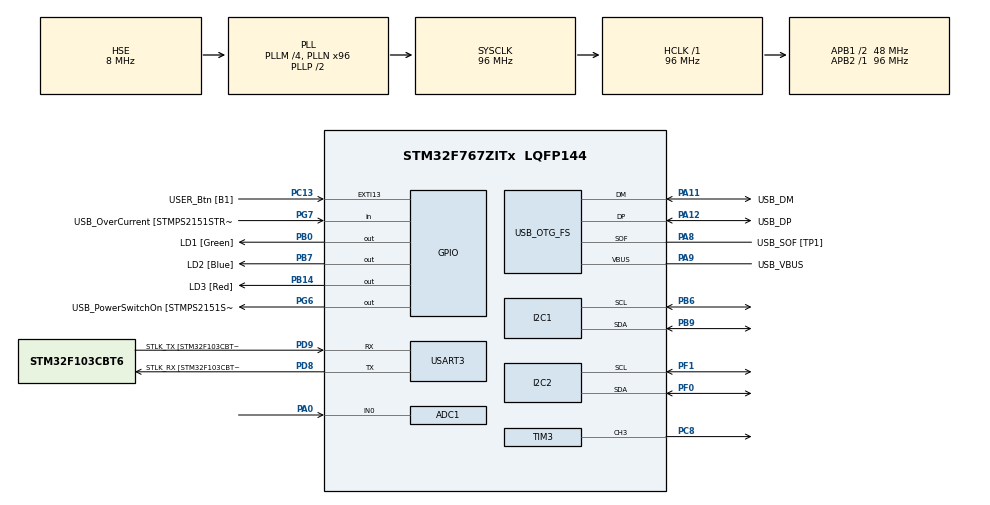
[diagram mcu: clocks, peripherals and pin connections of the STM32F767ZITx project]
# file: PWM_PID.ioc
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ADC1.Channel-0\#ChannelRegularConversion=ADC_CHANNEL_0
ADC1.ContinuousConvMode=ENABLE
ADC1.NbrOfConversionFlag=1
ADC1.Rank-0\#ChannelRegularConversion=1
ADC1.SamplingTime-0\#ChannelRegularConversion=ADC_SAMPLETIME_3CYCLES
ADC1.master=1
I2C1.Timing=0x20303E5D
I2C2.Timing=0x20303E5D
Mcu.Family=STM32F7
Mcu.Name=STM32F767ZITx
Mcu.Package=LQFP144
NVIC.PriorityGroup=NVIC_PRIORITYGROUP_4
NVIC.TIM3_IRQn=true\:0\:0\:false\:false\:true\:true\:true\:true
NVIC.TIM7_IRQn=true\:0\:0\:false\:false\:true\:true\:true\:true
NVIC.USART3_IRQn=true\:0\:0\:false\:false\:true\:true\:true\:true
PA0/WKUP.Signal=ADCx_IN0
PA1.GPIO_Label=RMII_REF_CLK [LAN8742A-CZ-TR_REFCLK0]
PA1.Signal=ETH_REF_CLK
PA10.GPIO_Label=USB_ID
PA10.Signal=USB_OTG_FS_ID
PA11.GPIO_Label=USB_DM
PA11.Mode=Device_Only
PA11.Signal=USB_OTG_FS_DM
PA12.GPIO_Label=USB_DP
PA12.Mode=Device_Only
PA12.Signal=USB_OTG_FS_DP
PA13.GPIO_Label=TMS
PA13.Mode=Serial_Wire
PA13.Signal=SYS_JTMS-SWDIO
PA14.GPIO_Label=TCK
PA14.Mode=Serial_Wire
PA14.Signal=SYS_JTCK-SWCLK
PA2.GPIO_Label=RMII_MDIO [LAN8742A-CZ-TR_MDIO]
PA2.Signal=ETH_MDIO
PA7.GPIO_Label=RMII_CRS_DV [LAN8742A-CZ-TR_CRS_DV]
PA7.Signal=ETH_CRS_DV
PA8.GPIO_Label=USB_SOF [TP1]
PA8.Mode=Activate_SOF_FS
PA8.Signal=USB_OTG_FS_SOF
PA9.GPIO_Label=USB_VBUS
PA9.Mode=Activate_VBUS
PA9.Signal=USB_OTG_FS_VBUS
PB0.GPIO_Label=LD1 [Green]
PB0.Signal=GPIO_Output
PB13.GPIO_Label=RMII_TXD1 [LAN8742A-CZ-TR_TXD1]
PB13.Signal=ETH_TXD1
PB14.GPIO_Label=LD3 [Red]
PB14.Signal=GPIO_Output
PB3.GPIO_Label=SWO
PB3.Signal=SYS_JTDO-SWO
PB6.Mode=I2C
PB6.Signal=I2C1_SCL
PB7.GPIO_Label=LD2 [Blue]
PB7.Signal=GPIO_Output
PB9.Mode=I2C
PB9.Signal=I2C1_SDA
PC1.GPIO_Label=RMII_MDC [LAN8742A-CZ-TR_MDC]
PC1.Signal=ETH_MDC
PC13.GPIO_Label=USER_Btn [B1]
PC13.Signal=GPXTI13
PC14/OSC32_IN.Mode=LSE-External-Oscillator
PC14/OSC32_IN.Signal=RCC_OSC32_IN
PC15/OSC32_OUT.Mode=LSE-External-Oscillator
PC15/OSC32_OUT.Signal=RCC_OSC32_OUT
PC4.GPIO_Label=RMII_RXD0 [LAN8742A-CZ-TR_RXD0]
PC4.Signal=ETH_RXD0
PC5.GPIO_Label=RMII_RXD1 [LAN8742A-CZ-TR_RXD1]
PC5.Signal=ETH_RXD1
PC8.Signal=S_TIM3_CH3
PD8.GPIO_Label=STLK_RX [STM32F103CBT6_PA3]
PD8.Mode=Asynchronous
PD8.Signal=USART3_TX
PD9.GPIO_Label=STLK_TX [STM32F103CBT6_PA2]
PD9.Mode=Asynchronous
PD9.Signal=USART3_RX
PF0.Mode=I2C
PF0.Signal=I2C2_SDA
PF1.Mode=I2C
PF1.Signal=I2C2_SCL
PG11.GPIO_Label=RMII_TX_EN [LAN8742A-CZ-TR_TXEN]
PG11.Signal=ETH_TX_EN
PG13.GPIO_Label=RMII_TXD0 [LAN8742A-CZ-TR_TXD0]
PG13.Signal=ETH_TXD0
PG6.GPIO_Label=USB_PowerSwitchOn [STMPS2151STR_EN]
PG6.Signal=GPIO_Output
PG7.GPIO_Label=USB_OverCurrent [STMPS2151STR_FAULT]
PG7.Signal=GPIO_Input
PH0/OSC_IN.GPIO_Label=MCO [STM32F103CBT6_PA8]
PH0/OSC_IN.Mode=HSE-External-Clock-Source
PH0/OSC_IN.Signal=RCC_OSC_IN
PH1/OSC_OUT.Mode=HSE-External-Clock-Source
PH1/OSC_OUT.Signal=RCC_OSC_OUT
ProjectManager.HeapSize=0x200
ProjectManager.StackSize=0x400
ProjectManager.TargetToolchain=STM32CubeIDE
RCC.48MHZClocksFreq_Value=24000000
RCC.AHBFreq_Value=96000000
RCC.APB1CLKDivider=RCC_HCLK_DIV2
RCC.APB1Freq_Value=48000000
RCC.APB1TimFreq_Value=96000000
RCC.APB2Freq_Value=96000000
RCC.APB2TimFreq_Value=96000000
RCC.CortexFreq_Value=96000000
RCC.HCLKFreq_Value=96000000
RCC.HSE_VALUE=8000000
RCC.HSI_VALUE=16000000
RCC.PLLM=4
RCC.PLLMUL=RCC_PLL_MUL9
RCC.PLLN=96
RCC.PLLQ=4
RCC.PRESCALERUSB=RCC_USBCLKSOURCE_PLL_DIV1_5
RCC.SYSCLKFreq_VALUE=96000000
RCC.SYSCLKSource=RCC_SYSCLKSOURCE_PLLCLK
RCC.SYSCLKSourceVirtual=RCC_SYSCLKSOURCE_PLLCLK
RCC.USBFreq_Value=48000000
RCC.VCOOutputFreq_Value=192000000
SH.ADCx_IN0.0=ADC1_IN0,IN0
SH.S_TIM3_CH3.0=TIM3_CH3,PWM Generation3 CH3
TIM3.Channel-PWM\ Generation3\ CH3=TIM_CHANNEL_3
TIM3.Period=999
TIM3.Prescaler=95
TIM7.Period=3999
TIM7.Prescaler=23999
USART3.VirtualMode-Asynchronous=VM_ASYNC
USB_OTG_FS.VirtualMode=Device_Only
VP_TIM3_VS_ClockSourceINT.Mode=Internal
VP_TIM7_VS_ClockSourceINT.Mode=Enable_Timer
board=NUCLEO-F767ZI

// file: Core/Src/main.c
/* USER CODE BEGIN Header */
/**
  ******************************************************************************
  * @file           : main.c
  * @brief          : Main program body
  ******************************************************************************
  * @attention
  *
  * Copyright (c) 2024 STMicroelectronics.
  * All rights reserved.
  *
  * This software is licensed under terms that can be found in the LICENSE file
  * in the root directory of this software component.
  * If no LICENSE file comes with this software, it is provided AS-IS.
  *
  ******************************************************************************
  */
/* USER CODE END Header */
#include "main.h"
#include "Other_Functions.h"
#include "Display_Animations.h"
#include "BMPXX80.h"
#include "ssd1306.h"
#include "string.h"
#include "stdio.h"
#include <stdbool.h>

/* USER CODE BEGIN PM */
#define COUNTOF(__BUFFER__)	(sizeof(__BUFFER__) / sizeof(*(__BUFFER__)))
/* USER CODE END PM */

ADC_HandleTypeDef hadc1;

I2C_HandleTypeDef hi2c1;
I2C_HandleTypeDef hi2c2;

TIM_HandleTypeDef htim3;
TIM_HandleTypeDef htim7;

UART_HandleTypeDef huart3;

PCD_HandleTypeDef hpcd_USB_OTG_FS;

/* USER CODE BEGIN PV */
float temperature;
int32_t pressure;
uint16_t readValue;
int tabela_temp[118];
float kp = 0;
float ki = 0;
float kd = 0;
float yzad = 0;
int yINTzad = 0;
float tp = 1;
float I = 0;
float D = 0;
float P = 0;
float poprzednia_probka = 0;
float uchyb = 0;
float Temperatura = 0;
float TemperaturaZadana = 40;
char buffer1[200];
int dlugosc;
float TempZad;
char msg[128];
volatile uint16_t i = 0;
volatile uint8_t dataReceivedFlag = 0;
char* controlX = &msg[5];
bool Auto = false;
/* USER CODE END PV */

void SystemClock_Config(void);
static void MX_GPIO_Init(void);
static void MX_USART3_UART_Init(void);
static void MX_USB_OTG_FS_PCD_Init(void);
static void MX_ADC1_Init(void);
static void MX_I2C1_Init(void);
static void MX_I2C2_Init(void);
static void MX_TIM3_Init(void);
static void MX_TIM7_Init(void);

/* USER CODE BEGIN 0 */
void transmitData(float send){
    uint8_t size =
            sprintf(buffer1,
                    "{\"Temperatura\": %.2f, \"TemperaturaZadana\": %.2f}\n",
                     Temperatura, TemperaturaZadana);
    HAL_UART_Transmit(&huart3, (uint8_t*) buffer1, size, 100);
}

void HAL_UART_RxCpltCallback(UART_HandleTypeDef *huart)
{
    if (huart->Instance == USART3)  // Sprawdź, czy przerwanie pochodzi z USART3
    {

		HAL_GPIO_TogglePin(GPIOB,GPIO_PIN_0);
        if (msg[i] == '\n')  // Sprawdź, czy odebrano znak końca linii
        {
            dataReceivedFlag = 1;  // Ustaw flagę o odebraniu pełnej wiadomości
            msg[i] = '\0';  // Zamień znak końca linii na znak końca łańcucha
            i = 0;  // Resetuj indeks bufora
            sscanf(msg,"%f",&TempZad);
            if (TempZad == 0){
            	*controlX = &msg[5];
            	for (int v = 5; v < 128; v++){
            		msg[v] = '\0';
            	}
            	sscanf(msg,"%f",&TempZad);
            	if (TempZad == 0){
            		*controlX = &msg[4];
            		msg[4] = '\0';
            	}
            	sscanf(msg,"%f",&TempZad);
            }
            if (*controlX == 'A'){
            	Auto = true;
            }else{
            	Auto = false;
            }

        }
        else
        {
            if (++i >= 128)  // Inkrementuj indeks i sprawdź przepełnienie
            {
                i = 0;  // Resetuj indeks bufora
            }
        }
        HAL_UART_Receive_IT(&huart3, (uint8_t*)&msg[i], 1);  // Ponownie włącz przerwanie
    }
}
/* USER CODE END 0 */

int main(void)
{

  /* MCU Configuration--------------------------------------------------------*/

  /* Reset of all peripherals, Initializes the Flash interface and the Systick. */
  HAL_Init();

  /* Configure the system clock */
  SystemClock_Config();

  /* Initialize all configured peripherals */
  MX_GPIO_Init();
  MX_USART3_UART_Init();
  MX_USB_OTG_FS_PCD_Init();
  MX_ADC1_Init();
  MX_I2C1_Init();
  MX_I2C2_Init();
  MX_TIM3_Init();
  MX_TIM7_Init();
  /* USER CODE BEGIN 2 */
      BMP280_Init(&hi2c1, BMP280_TEMPERATURE_16BIT, BMP280_STANDARD, BMP280_FORCEDMODE);
      HAL_Delay(500);
      ssd1306_Init();
      HAL_Delay(200);
      HAL_TIM_PWM_Start(&htim3,TIM_CHANNEL_3);

      HAL_TIM_Base_Start_IT(&htim7);
      /* USER CODE END 2 */

      /* Infinite loop */
      /* USER CODE BEGIN WHILE */
      int z = 0;

      int Choose_PID = 2;
      if (Choose_PID == 1){
    	  //nastawy PID Normal V
    	  kp = 8.5292;
    	  ki = 0.0046146;
    	  kd = 1774.5473;
      }else{
    	  //nastawy PID Low V
    	  kp = 18.1264;
    	  ki = 0.041887;
    	  kd = 0;
      }

        //int rys = 20;
      for (int i = 0; i < 118; i++){
        tabela_temp[i] = convertTempPx(30);
      }

      HAL_UART_Receive_IT(&huart3, (uint8_t*)&msg[i], 1);
      while (1)
            	  {
                /* USER CODE END WHILE */
            	  BMP280_ReadTemperatureAndPressure(&temperature, &pressure);
            	  HAL_Delay(250);
            	  HAL_ADC_Start(&hadc1);
           	      HAL_ADC_PollForConversion(&hadc1,1000);
           	      readValue = HAL_ADC_GetValue(&hadc1);
         	      HAL_ADC_Stop(&hadc1);
            	  /*
            	  if (rys == 40){
            		  rys = 20;
            	  }
            	  rys++;
            	  */
            	  Temperatura = temperature; // = rys;
            	  if (Auto == true){
            		TemperaturaZadana = TempZad;
            	  }else{
            		TemperaturaZadana = readValue;
            		TemperaturaZadana = trunc(2. * (round(TemperaturaZadana / 20)/10 + 20) + .5) / 2.;
            	  }
            	   if (z == 2){
            		  for (int i = 0; i < (117); i++){
            		  	  tabela_temp[i] = tabela_temp[i+1];
            		    }
            		  tabela_temp[117] = convertTempPx(Temperatura);
            		  z = 0;
            	  }else{
            		  z++;
            	  }
            	  if (HAL_GPIO_ReadPin(GPIOB, GPIO_PIN_2) == GPIO_PIN_SET) {
            	  	Graf();
            	  	rysuj_wykres(tabela_temp);
            	  	DottedLine(convertTempPx(TemperaturaZadana));
            	  } else {
            	  	TempZadScreen(Temperatura, TemperaturaZadana);
            	  }
            	  ssd1306_UpdateScreen();
            	  HAL_Delay(250);

              }
    }

    void HAL_TIM_PeriodElapsedCallback(TIM_HandleTypeDef *htim)
    {
    	if (htim->Instance ==TIM7){

    		BMP280_ReadTemperatureAndPressure(&temperature, &pressure);
    		transmitData(Temperatura);
    	//PID
    	  	  poprzednia_probka = uchyb;
            	  uchyb = TemperaturaZadana - Temperatura;
            	  I = I + uchyb * ki * tp;
            	  D = (kd * (uchyb - poprzednia_probka)/tp);
            	  P = uchyb * kp;
            	  yzad = P + I + D;
            	  if(yzad > 99){
            		  yzad = 100;
            	  }else if(yzad < 0){
            		  yzad = 0;
            	  }
            	  yINTzad = (int)(yzad * 10);
            	  __HAL_TIM_SET_COMPARE(&htim3,TIM_CHANNEL_3,yINTzad);
    	}
    }

void SystemClock_Config(void)
{
  RCC_OscInitTypeDef RCC_OscInitStruct = {0};
  RCC_ClkInitTypeDef RCC_ClkInitStruct = {0};

  /** Configure LSE Drive Capability
  */
  HAL_PWR_EnableBkUpAccess();

  /** Configure the main internal regulator output voltage
  */
  __HAL_RCC_PWR_CLK_ENABLE();
  __HAL_PWR_VOLTAGESCALING_CONFIG(PWR_REGULATOR_VOLTAGE_SCALE3);

  /** Initializes the RCC Oscillators according to the specified parameters
  * in the RCC_OscInitTypeDef structure.
  */
  RCC_OscInitStruct.OscillatorType = RCC_OSCILLATORTYPE_HSE;
  RCC_OscInitStruct.HSEState = RCC_HSE_BYPASS;
  RCC_OscInitStruct.PLL.PLLState = RCC_PLL_ON;
  RCC_OscInitStruct.PLL.PLLSource = RCC_PLLSOURCE_HSE;
  RCC_OscInitStruct.PLL.PLLM = 4;
  RCC_OscInitStruct.PLL.PLLN = 96;
  RCC_OscInitStruct.PLL.PLLP = RCC_PLLP_DIV2;
  RCC_OscInitStruct.PLL.PLLQ = 4;
  RCC_OscInitStruct.PLL.PLLR = 2;
  if (HAL_RCC_OscConfig(&RCC_OscInitStruct) != HAL_OK)
  {
    Error_Handler();
  }

  /** Activate the Over-Drive mode
  */
  if (HAL_PWREx_EnableOverDrive() != HAL_OK)
  {
    Error_Handler();
  }

  /** Initializes the CPU, AHB and APB buses clocks
  */
  RCC_ClkInitStruct.ClockType = RCC_CLOCKTYPE_HCLK|RCC_CLOCKTYPE_SYSCLK
                              |RCC_CLOCKTYPE_PCLK1|RCC_CLOCKTYPE_PCLK2;
  RCC_ClkInitStruct.SYSCLKSource = RCC_SYSCLKSOURCE_PLLCLK;
  RCC_ClkInitStruct.AHBCLKDivider = RCC_SYSCLK_DIV1;
  RCC_ClkInitStruct.APB1CLKDivider = RCC_HCLK_DIV2;
  RCC_ClkInitStruct.APB2CLKDivider = RCC_HCLK_DIV1;

  if (HAL_RCC_ClockConfig(&RCC_ClkInitStruct, FLASH_LATENCY_3) != HAL_OK)
  {
    Error_Handler();
  }
}

static void MX_ADC1_Init(void)
{

  ADC_ChannelConfTypeDef sConfig = {0};

  /** Configure the global features of the ADC (Clock, Resolution, Data Alignment and number of conversion)
  */
  hadc1.Instance = ADC1;
  hadc1.Init.ClockPrescaler = ADC_CLOCK_SYNC_PCLK_DIV4;
  hadc1.Init.Resolution = ADC_RESOLUTION_12B;
  hadc1.Init.ScanConvMode = ADC_SCAN_DISABLE;
  hadc1.Init.ContinuousConvMode = ENABLE;
  hadc1.Init.DiscontinuousConvMode = DISABLE;
  hadc1.Init.ExternalTrigConvEdge = ADC_EXTERNALTRIGCONVEDGE_NONE;
  hadc1.Init.ExternalTrigConv = ADC_SOFTWARE_START;
  hadc1.Init.DataAlign = ADC_DATAALIGN_RIGHT;
  hadc1.Init.NbrOfConversion = 1;
  hadc1.Init.DMAContinuousRequests = DISABLE;
  hadc1.Init.EOCSelection = ADC_EOC_SINGLE_CONV;
  if (HAL_ADC_Init(&hadc1) != HAL_OK)
  {
    Error_Handler();
  }

  /** Configure for the selected ADC regular channel its corresponding rank in the sequencer and its sample time.
  */
  sConfig.Channel = ADC_CHANNEL_0;
  sConfig.Rank = ADC_REGULAR_RANK_1;
  sConfig.SamplingTime = ADC_SAMPLETIME_3CYCLES;
  if (HAL_ADC_ConfigChannel(&hadc1, &sConfig) != HAL_OK)
  {
    Error_Handler();
  }

}

static void MX_I2C1_Init(void)
{

  hi2c1.Instance = I2C1;
  hi2c1.Init.Timing = 0x20303E5D;
  hi2c1.Init.OwnAddress1 = 0;
  hi2c1.Init.AddressingMode = I2C_ADDRESSINGMODE_7BIT;
  hi2c1.Init.DualAddressMode = I2C_DUALADDRESS_DISABLE;
  hi2c1.Init.OwnAddress2 = 0;
  hi2c1.Init.OwnAddress2Masks = I2C_OA2_NOMASK;
  hi2c1.Init.GeneralCallMode = I2C_GENERALCALL_DISABLE;
  hi2c1.Init.NoStretchMode = I2C_NOSTRETCH_DISABLE;
  if (HAL_I2C_Init(&hi2c1) != HAL_OK)
  {
    Error_Handler();
  }

  /** Configure Analogue filter
  */
  if (HAL_I2CEx_ConfigAnalogFilter(&hi2c1, I2C_ANALOGFILTER_ENABLE) != HAL_OK)
  {
    Error_Handler();
  }

  /** Configure Digital filter
  */
  if (HAL_I2CEx_ConfigDigitalFilter(&hi2c1, 0) != HAL_OK)
  {
    Error_Handler();
  }

}

static void MX_I2C2_Init(void)
{

  hi2c2.Instance = I2C2;
  hi2c2.Init.Timing = 0x20303E5D;
  hi2c2.Init.OwnAddress1 = 0;
  hi2c2.Init.AddressingMode = I2C_ADDRESSINGMODE_7BIT;
  hi2c2.Init.DualAddressMode = I2C_DUALADDRESS_DISABLE;
  hi2c2.Init.OwnAddress2 = 0;
  hi2c2.Init.OwnAddress2Masks = I2C_OA2_NOMASK;
  hi2c2.Init.GeneralCallMode = I2C_GENERALCALL_DISABLE;
  hi2c2.Init.NoStretchMode = I2C_NOSTRETCH_DISABLE;
  if (HAL_I2C_Init(&hi2c2) != HAL_OK)
  {
    Error_Handler();
  }

  /** Configure Analogue filter
  */
  if (HAL_I2CEx_ConfigAnalogFilter(&hi2c2, I2C_ANALOGFILTER_ENABLE) != HAL_OK)
  {
    Error_Handler();
  }

  /** Configure Digital filter
  */
  if (HAL_I2CEx_ConfigDigitalFilter(&hi2c2, 0) != HAL_OK)
  {
    Error_Handler();
  }

}

static void MX_TIM3_Init(void)
{

  TIM_ClockConfigTypeDef sClockSourceConfig = {0};
  TIM_MasterConfigTypeDef sMasterConfig = {0};
  TIM_OC_InitTypeDef sConfigOC = {0};

  htim3.Instance = TIM3;
  htim3.Init.Prescaler = 95;
  htim3.Init.CounterMode = TIM_COUNTERMODE_UP;
  htim3.Init.Period = 999;
  htim3.Init.ClockDivision = TIM_CLOCKDIVISION_DIV1;
  htim3.Init.AutoReloadPreload = TIM_AUTORELOAD_PRELOAD_DISABLE;
  if (HAL_TIM_Base_Init(&htim3) != HAL_OK)
  {
    Error_Handler();
  }
  sClockSourceConfig.ClockSource = TIM_CLOCKSOURCE_INTERNAL;
  if (HAL_TIM_ConfigClockSource(&htim3, &sClockSourceConfig) != HAL_OK)
  {
    Error_Handler();
  }
  if (HAL_TIM_PWM_Init(&htim3) != HAL_OK)
  {
    Error_Handler();
  }
  sMasterConfig.MasterOutputTrigger = TIM_TRGO_RESET;
  sMasterConfig.MasterSlaveMode = TIM_MASTERSLAVEMODE_DISABLE;
  if (HAL_TIMEx_MasterConfigSynchronization(&htim3, &sMasterConfig) != HAL_OK)
  {
    Error_Handler();
  }
  sConfigOC.OCMode = TIM_OCMODE_PWM1;
  sConfigOC.Pulse = 0;
  sConfigOC.OCPolarity = TIM_OCPOLARITY_HIGH;
  sConfigOC.OCFastMode = TIM_OCFAST_DISABLE;
  if (HAL_TIM_PWM_ConfigChannel(&htim3, &sConfigOC, TIM_CHANNEL_3) != HAL_OK)
  {
    Error_Handler();
  }
  HAL_TIM_MspPostInit(&htim3);

}

static void MX_TIM7_Init(void)
{

  TIM_MasterConfigTypeDef sMasterConfig = {0};

  htim7.Instance = TIM7;
  htim7.Init.Prescaler = 23999;
  htim7.Init.CounterMode = TIM_COUNTERMODE_UP;
  htim7.Init.Period = 3999;
  htim7.Init.AutoReloadPreload = TIM_AUTORELOAD_PRELOAD_DISABLE;
  if (HAL_TIM_Base_Init(&htim7) != HAL_OK)
  {
    Error_Handler();
  }
  sMasterConfig.MasterOutputTrigger = TIM_TRGO_RESET;
  sMasterConfig.MasterSlaveMode = TIM_MASTERSLAVEMODE_DISABLE;
  if (HAL_TIMEx_MasterConfigSynchronization(&htim7, &sMasterConfig) != HAL_OK)
  {
    Error_Handler();
  }

}

static void MX_USART3_UART_Init(void)
{

  huart3.Instance = USART3;
  huart3.Init.BaudRate = 115200;
  huart3.Init.WordLength = UART_WORDLENGTH_8B;
  huart3.Init.StopBits = UART_STOPBITS_1;
  huart3.Init.Parity = UART_PARITY_NONE;
  huart3.Init.Mode = UART_MODE_TX_RX;
  huart3.Init.HwFlowCtl = UART_HWCONTROL_NONE;
  huart3.Init.OverSampling = UART_OVERSAMPLING_16;
  huart3.Init.OneBitSampling = UART_ONE_BIT_SAMPLE_DISABLE;
  huart3.AdvancedInit.AdvFeatureInit = UART_ADVFEATURE_NO_INIT;
  if (HAL_UART_Init(&huart3) != HAL_OK)
  {
    Error_Handler();
  }

}

static void MX_USB_OTG_FS_PCD_Init(void)
{

  hpcd_USB_OTG_FS.Instance = USB_OTG_FS;
  hpcd_USB_OTG_FS.Init.dev_endpoints = 6;
  hpcd_USB_OTG_FS.Init.speed = PCD_SPEED_FULL;
  hpcd_USB_OTG_FS.Init.dma_enable = DISABLE;
  hpcd_USB_OTG_FS.Init.phy_itface = PCD_PHY_EMBEDDED;
  hpcd_USB_OTG_FS.Init.Sof_enable = ENABLE;
  hpcd_USB_OTG_FS.Init.low_power_enable = DISABLE;
  hpcd_USB_OTG_FS.Init.lpm_enable = DISABLE;
  hpcd_USB_OTG_FS.Init.vbus_sensing_enable = ENABLE;
  hpcd_USB_OTG_FS.Init.use_dedicated_ep1 = DISABLE;
  if (HAL_PCD_Init(&hpcd_USB_OTG_FS) != HAL_OK)
  {
    Error_Handler();
  }

}

static void MX_GPIO_Init(void)
{
  GPIO_InitTypeDef GPIO_InitStruct = {0};

  /* GPIO Ports Clock Enable */
  __HAL_RCC_GPIOC_CLK_ENABLE();
  __HAL_RCC_GPIOF_CLK_ENABLE();
  __HAL_RCC_GPIOH_CLK_ENABLE();
  __HAL_RCC_GPIOA_CLK_ENABLE();
  __HAL_RCC_GPIOB_CLK_ENABLE();
  __HAL_RCC_GPIOD_CLK_ENABLE();
  __HAL_RCC_GPIOG_CLK_ENABLE();

  /*Configure GPIO pin Output Level */
  HAL_GPIO_WritePin(GPIOB, LD1_Pin|LD3_Pin|LD2_Pin, GPIO_PIN_RESET);

  /*Configure GPIO pin Output Level */
  HAL_GPIO_WritePin(USB_PowerSwitchOn_GPIO_Port, USB_PowerSwitchOn_Pin, GPIO_PIN_RESET);

  /*Configure GPIO pin : USER_Btn_Pin */
  GPIO_InitStruct.Pin = USER_Btn_Pin;
  GPIO_InitStruct.Mode = GPIO_MODE_IT_RISING;
  GPIO_InitStruct.Pull = GPIO_NOPULL;
  HAL_GPIO_Init(USER_Btn_GPIO_Port, &GPIO_InitStruct);

  /*Configure GPIO pins : RMII_MDC_Pin RMII_RXD0_Pin RMII_RXD1_Pin */
  GPIO_InitStruct.Pin = RMII_MDC_Pin|RMII_RXD0_Pin|RMII_RXD1_Pin;
  GPIO_InitStruct.Mode = GPIO_MODE_AF_PP;
  GPIO_InitStruct.Pull = GPIO_NOPULL;
  GPIO_InitStruct.Speed = GPIO_SPEED_FREQ_VERY_HIGH;
  GPIO_InitStruct.Alternate = GPIO_AF11_ETH;
  HAL_GPIO_Init(GPIOC, &GPIO_InitStruct);

  /*Configure GPIO pins : RMII_REF_CLK_Pin RMII_MDIO_Pin RMII_CRS_DV_Pin */
  GPIO_InitStruct.Pin = RMII_REF_CLK_Pin|RMII_MDIO_Pin|RMII_CRS_DV_Pin;
  GPIO_InitStruct.Mode = GPIO_MODE_AF_PP;
  GPIO_InitStruct.Pull = GPIO_NOPULL;
  GPIO_InitStruct.Speed = GPIO_SPEED_FREQ_VERY_HIGH;
  GPIO_InitStruct.Alternate = GPIO_AF11_ETH;
  HAL_GPIO_Init(GPIOA, &GPIO_InitStruct);

  /*Configure GPIO pins : LD1_Pin LD3_Pin LD2_Pin */
  GPIO_InitStruct.Pin = LD1_Pin|LD3_Pin|LD2_Pin;
  GPIO_InitStruct.Mode = GPIO_MODE_OUTPUT_PP;
  GPIO_InitStruct.Pull = GPIO_NOPULL;
  GPIO_InitStruct.Speed = GPIO_SPEED_FREQ_LOW;
  HAL_GPIO_Init(GPIOB, &GPIO_InitStruct);

  /*Configure GPIO pin : RMII_TXD1_Pin */
  GPIO_InitStruct.Pin = RMII_TXD1_Pin;
  GPIO_InitStruct.Mode = GPIO_MODE_AF_PP;
  GPIO_InitStruct.Pull = GPIO_NOPULL;
  GPIO_InitStruct.Speed = GPIO_SPEED_FREQ_VERY_HIGH;
  GPIO_InitStruct.Alternate = GPIO_AF11_ETH;
  HAL_GPIO_Init(RMII_TXD1_GPIO_Port, &GPIO_InitStruct);

  /*Configure GPIO pin : USB_PowerSwitchOn_Pin */
  GPIO_InitStruct.Pin = USB_PowerSwitchOn_Pin;
  GPIO_InitStruct.Mode = GPIO_MODE_OUTPUT_PP;
  GPIO_InitStruct.Pull = GPIO_NOPULL;
  GPIO_InitStruct.Speed = GPIO_SPEED_FREQ_LOW;
  HAL_GPIO_Init(USB_PowerSwitchOn_GPIO_Port, &GPIO_InitStruct);

  /*Configure GPIO pin : USB_OverCurrent_Pin */
  GPIO_InitStruct.Pin = USB_OverCurrent_Pin;
  GPIO_InitStruct.Mode = GPIO_MODE_INPUT;
  GPIO_InitStruct.Pull = GPIO_NOPULL;
  HAL_GPIO_Init(USB_OverCurrent_GPIO_Port, &GPIO_InitStruct);

  /*Configure GPIO pins : RMII_TX_EN_Pin RMII_TXD0_Pin */
  GPIO_InitStruct.Pin = RMII_TX_EN_Pin|RMII_TXD0_Pin;
  GPIO_InitStruct.Mode = GPIO_MODE_AF_PP;
  GPIO_InitStruct.Pull = GPIO_NOPULL;
  GPIO_InitStruct.Speed = GPIO_SPEED_FREQ_VERY_HIGH;
  GPIO_InitStruct.Alternate = GPIO_AF11_ETH;
  HAL_GPIO_Init(GPIOG, &GPIO_InitStruct);

}

void Error_Handler(void)
{
  __disable_irq();
  while (1)
  {
  }
}
